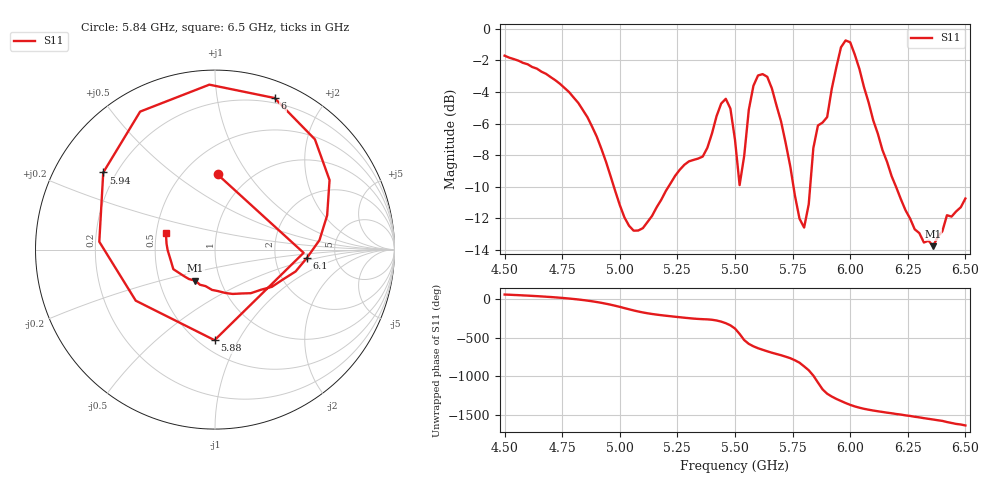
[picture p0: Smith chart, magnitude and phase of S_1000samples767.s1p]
! TOUCHSTONE file generated by CST MICROWAVE STUDIO
! Date and time: Sat Oct 29 07:46:46 2022
! Project name: L.cst
! Parameters = {Di=1.27; Epsilon_r=1.56; InnerDiameter=1.27; Length=2; Lf=10; Lg=60; OuterConductorThickness=0.2921; OuterDiameter=3.6; Wf=3; Wp=41.2; de=1.5; df=6.8; g=0.8; gx=3.05928; gy=1.70973; h=2.34; hf=1.524; px=13.1773; py=14.8809; w=9.7; wx=10.118; wy=13.1711}
! Header version: 2018
! Port assignment regex: !\s*Touchstone port\s*([0-9]+)\s*=\s*(CST MWS port|CST DS port)\s*([0-9]+|Zmin|Zmax)\s*\(\"(.*)\"\)(\s*mode\s*([0-9]+))?.*
! Touchstone port assignment:
! Touchstone port 1 = CST MWS port 1 ("")
# GHz S DB R 50
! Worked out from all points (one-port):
!   101 points, 4.5 GHz to 6.5 GHz, reference 50 ohm
!   lowest |S11| = -13.8 dB at 6.36 GHz (marker M1), VSWR 1.51, Z = 38 - j13.7 ohm
!   |S11| at or under -10 dB: 4.974 GHz to 5.212 GHz (237.6 MHz wide, 4.67 % of centre); 5.754 GHz to 5.826 GHz (72.48 MHz wide, 1.25 % of centre); 6.199 GHz to end of sweep
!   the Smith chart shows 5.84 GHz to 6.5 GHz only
!   S11 on the Smith chart (normalised r, x): 5.84 GHz: 0.72, +0.73; 5.88 GHz: 0.59, -0.80; 5.94 GHz: 0.15, +0.31; 6 GHz: 0.15, +1.46; 6.1 GHz: 3.05, -0.40; 6.5 GHz: 0.56, +0.12
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4.5  -1.70 60.1
4.76  -3.74 13.7
4.9  -6.83 -37.1
5  -11.17 -99.9
5.26  -8.94 125.8
5.4  -6.63 92.9
5.44  -4.73 68.7
5.48  -5.05 20.5
5.5  -7.04 -21.1
5.52  -9.91 -90.9
5.54  -8.04 -171.2
5.56  -5.12 139.7
5.6  -2.95 83.3
5.66  -3.77 24.9
5.76  -10.57 -72.9
5.82  -11.13 157.5
5.84  -7.56 88.0
5.86  -6.12 -2.1
5.88  -5.94 -90.3
5.9  -5.59 -147.2
5.94  -2.42 145.4
5.98  -0.73 92.0
6  -0.84 68.6
6.04  -2.54 31.3
6.1  -5.80 -5.4
6.26  -12.03 -75.7
6.36  -13.78 -122.2
6.5  -10.76 160.8
